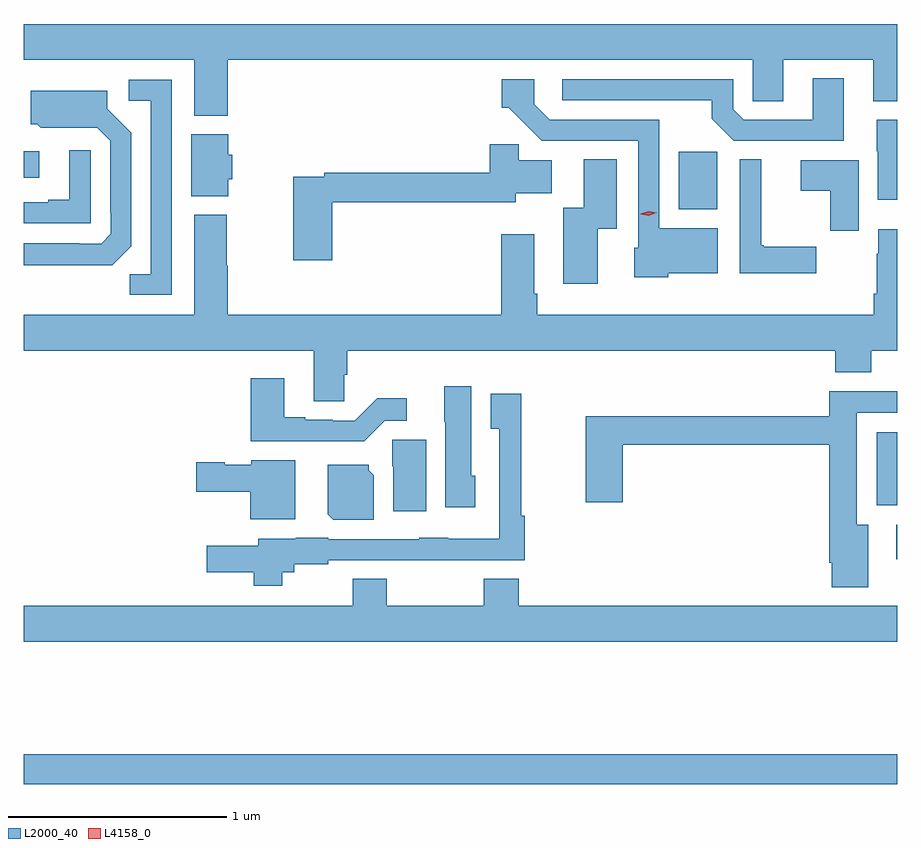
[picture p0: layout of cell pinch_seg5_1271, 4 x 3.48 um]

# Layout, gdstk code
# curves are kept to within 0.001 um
import gdstk
lib = gdstk.Library(unit=1e-6, precision=1e-09)
def R(c, l, rs):  # rectangles x0, y0, x1, y1
    for r in rs: c.add(gdstk.rectangle(r[:2], r[2:], *l))
def P(c, l, *ps):  # polygons
    for p in ps: c.add(gdstk.Polygon(p, *l))
L2000_40 = (2000, 40)
L4158_0 = (4158, 0)

pinch_seg5_1271 = lib.new_cell('pinch_seg5_1271')
R(pinch_seg5_1271, L2000_40, [(372.561,842.788,376.561,842.924), (376.557,843.816,376.561,843.975), (376.466,844.064,376.561,844.399), (375.56,845.42,375.736,845.684), (372.561,845.564,372.631,845.685)])
P(pinch_seg5_1271, L2000_40, [(373.496,846.104),(375.9,846.104),(375.9,845.914),(376.039,845.914),(376.039,846.104),(376.451,846.104),(376.451,845.915),(376.561,845.915),(376.561,846.268),(372.561,846.268),(372.561,846.104),(373.343,846.104),(373.343,845.849),(373.496,845.849)],
  [(376.315,846.019),(376.175,846.019),(376.175,845.829),(375.858,845.829),(375.81,845.877),(375.81,846.015),(375.027,846.015),(375.027,845.919),(375.712,845.919),(375.712,845.835),(375.813,845.733),(376.315,845.733)],
  [(375.513,845.126),(375.739,845.126),(375.739,845.332),(375.471,845.332),(375.471,845.829),(374.97,845.829),(374.898,845.901),(374.898,846.015),(374.751,846.015),(374.751,845.885),(374.782,845.885),(374.934,845.733),(375.375,845.733),(375.375,845.244),(375.356,845.244),(375.356,845.108),(375.513,845.108)],
  [(373.239,846.012),(373.041,846.012),(373.041,845.916),(373.143,845.916),(373.143,845.123),(373.047,845.123),(373.047,845.028),(373.239,845.028)],
  [(373.053,845.25),(373.053,845.77),(372.943,845.88),(372.943,845.962),(372.593,845.962),(372.593,845.808),(372.624,845.808),(372.64,845.792),(372.897,845.793),(372.957,845.733),(372.957,845.407),(372.96,845.407),(372.96,845.307),(372.915,845.262),(372.815,845.262),(372.815,845.265),(372.561,845.265),(372.561,845.164),(372.967,845.164)],
  [(376.561,845.83),(376.466,845.83),(376.466,845.685),(376.472,845.685),(376.472,845.463),(376.561,845.463)],
  [(373.498,845.556),(373.516,845.556),(373.516,845.67),(373.498,845.67),(373.498,845.764),(373.328,845.764),(373.328,845.48),(373.498,845.48)],
  [(373.973,845.452),(374.814,845.452),(374.814,845.494),(374.979,845.494),(374.979,845.644),(374.828,845.644),(374.828,845.717),(374.696,845.717),(374.696,845.588),(373.936,845.588),(373.936,845.568),(373.795,845.568),(373.795,845.187),(373.973,845.187)],
  [(372.867,845.689),(372.77,845.689),(372.77,845.464),(372.674,845.464),(372.674,845.451),(372.561,845.451),(372.561,845.355),(372.867,845.355)],
  [(376.189,845.248),(375.949,845.248),(375.949,845.256),(375.938,845.256),(375.938,845.648),(375.84,845.648),(375.84,845.126),(376.189,845.126)],
  [(375.19,845.33),(375.277,845.33),(375.277,845.648),(375.125,845.648),(375.125,845.427),(375.032,845.427),(375.032,845.079),(375.19,845.079)],
  [(376.384,845.644),(376.119,845.644),(376.119,845.504),(376.255,845.504),(376.255,845.322),(376.384,845.322)],
  [(374.028,844.662),(374.042,844.662),(374.042,844.772),(376.277,844.772),(376.277,844.673),(376.442,844.673),(376.442,844.772),(376.561,844.772),(376.561,845.329),(376.473,845.329),(376.473,845.216),(376.468,845.216),(376.468,845.032),(376.453,845.032),(376.453,844.936),(374.912,844.936),(374.912,845.032),(374.899,845.032),(374.899,845.305),(374.747,845.305),(374.747,844.936),(373.496,844.936),(373.496,845.16),(373.491,845.16),(373.491,845.395),(373.343,845.395),(373.343,844.936),(372.561,844.936),(372.561,844.772),(373.889,844.772),(373.889,844.54),(374.028,844.54)],
  [(374.214,844.452),(374.314,844.452),(374.314,844.555),(374.179,844.555),(374.076,844.452),(373.976,844.452),(373.976,844.455),(373.849,844.455),(373.849,844.468),(373.753,844.468),(373.753,844.645),(373.601,844.645),(373.601,844.358),(374.12,844.358)],
  [(374.629,844.2),(374.611,844.2),(374.611,844.609),(374.486,844.609),(374.486,844.446),(374.492,844.446),(374.492,844.056),(374.629,844.056)],
  [(376.429,843.976),(376.375,843.976),(376.375,844.488),(376.561,844.488),(376.561,844.586),(376.25,844.586),(376.25,844.471),(375.134,844.471),(375.134,844.077),(375.305,844.077),(375.305,844.342),(376.25,844.342),(376.25,843.802),(376.262,843.802),(376.262,843.69),(376.429,843.69)],
  [(373.744,843.758),(373.799,843.758),(373.799,843.794),(373.956,843.794),(373.956,843.813),(374.373,843.813),(374.373,843.812),(374.605,843.812),(374.605,843.813),(374.855,843.813),(374.855,844.016),(374.84,844.016),(374.84,844.576),(374.699,844.576),(374.699,844.415),(374.739,844.415),(374.739,843.91),(374.505,843.91),(374.505,843.916),(374.373,843.916),(374.373,843.909),(373.956,843.909),(373.956,843.916),(373.806,843.916),(373.806,843.91),(373.634,843.91),(373.634,843.88),(373.398,843.88),(373.398,843.758),(373.615,843.758),(373.615,843.695),(373.744,843.695)],
  [(374.404,844.365),(374.248,844.365),(374.248,844.242),(374.252,844.242),(374.252,844.038),(374.404,844.038)],
  [(373.804,844.27),(373.602,844.27),(373.602,844.249),(373.482,844.249),(373.482,844.262),(373.35,844.262),(373.35,844.127),(373.598,844.127),(373.598,844.001),(373.804,844.001)],
  [(374.164,844.202),(374.142,844.224),(374.142,844.249),(373.952,844.249),(373.952,844.024),(373.978,843.998),(374.164,843.998)],
  [(376.561,843.604),(374.828,843.604),(374.828,843.728),(374.668,843.728),(374.668,843.604),(374.223,843.604),(374.223,843.728),(374.068,843.728),(374.068,843.604),(372.561,843.604),(372.561,843.44),(376.561,843.44)])
P(pinch_seg5_1271, L4158_0, [(375.423,845.391),(375.387,845.398),(375.387,845.399),(375.387,845.399),(375.422,845.411),(375.458,845.404),(375.459,845.404),(375.458,845.403)])

lib.write_gds('pinch_seg5_1271.gds')
